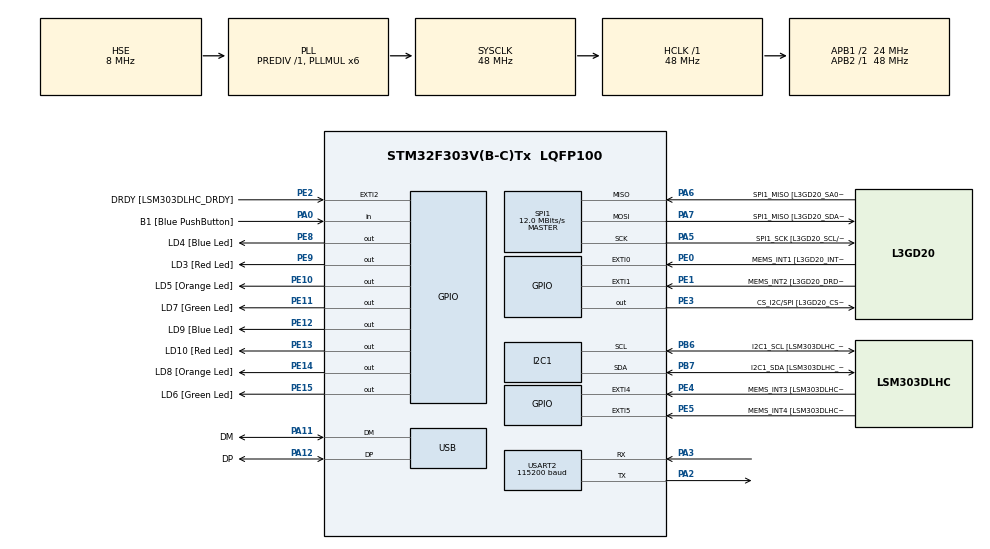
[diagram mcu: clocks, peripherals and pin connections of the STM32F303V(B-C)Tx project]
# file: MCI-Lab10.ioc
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I2C1.Timing=0x00201D2B
I2C1.Timing-I2C=0x2000090E
Mcu.Family=STM32F3
Mcu.Name=STM32F303V(B-C)Tx
Mcu.Package=LQFP100
NVIC.PriorityGroup=NVIC_PRIORITYGROUP_0
PA0.GPIO_Label=B1 [Blue PushButton]
PA0.Signal=GPIO_Input
PA11.GPIO_Label=DM
PA11.Mode=Device
PA11.Signal=USB_DM
PA12.GPIO_Label=DP
PA12.Mode=Device
PA12.Signal=USB_DP
PA13.GPIO_Label=SWDIO
PA13.Mode=Serial_Wire
PA13.Signal=SYS_JTMS-SWDIO
PA14.GPIO_Label=SWCLK
PA14.Mode=Serial_Wire
PA14.Signal=SYS_JTCK-SWCLK
PA2.Mode=Asynchronous
PA2.Signal=USART2_TX
PA3.Mode=Asynchronous
PA3.Signal=USART2_RX
PA5.GPIO_Label=SPI1_SCK [L3GD20_SCL/SPC]
PA5.Mode=Full_Duplex_Master
PA5.Signal=SPI1_SCK
PA6.GPIO_Label=SPI1_MISO [L3GD20_SA0/SDO]
PA6.Mode=Full_Duplex_Master
PA6.Signal=SPI1_MISO
PA7.GPIO_Label=SPI1_MISO [L3GD20_SDA/SDI/SDO]
PA7.Mode=Full_Duplex_Master
PA7.Signal=SPI1_MOSI
PB3.GPIO_Label=SWO
PB3.Signal=SYS_JTDO-TRACESWO
PB6.GPIO_Label=I2C1_SCL [LSM303DLHC_SCL]
PB6.GPIO_Pu=GPIO_PULLUP
PB6.Mode=I2C
PB6.Signal=I2C1_SCL
PB7.GPIO_Label=I2C1_SDA [LSM303DLHC_SDA]
PB7.GPIO_Pu=GPIO_PULLUP
PB7.Mode=I2C
PB7.Signal=I2C1_SDA
PC14-OSC32_IN.GPIO_Label=OSC32_IN
PC14-OSC32_IN.Signal=RCC_OSC32_IN
PC15-OSC32_OUT.GPIO_Label=OSC32_OUT
PC15-OSC32_OUT.Signal=RCC_OSC32_OUT
PE0.GPIO_Label=MEMS_INT1 [L3GD20_INT1]
PE0.GPIO_ModeDefaultEXTI=GPIO_MODE_EVT_RISING
PE0.Signal=GPXTI0
PE1.GPIO_Label=MEMS_INT2 [L3GD20_DRDY/INT2]
PE1.GPIO_ModeDefaultEXTI=GPIO_MODE_EVT_RISING
PE1.Signal=GPXTI1
PE10.GPIO_Label=LD5 [Orange Led]
PE10.Signal=GPIO_Output
PE11.GPIO_Label=LD7 [Green Led]
PE11.Signal=GPIO_Output
PE12.GPIO_Label=LD9 [Blue Led]
PE12.Signal=GPIO_Output
PE13.GPIO_Label=LD10 [Red Led]
PE13.Signal=GPIO_Output
PE14.GPIO_Label=LD8 [Orange Led]
PE14.Signal=GPIO_Output
PE15.GPIO_Label=LD6 [Green Led]
PE15.Signal=GPIO_Output
PE2.GPIO_Label=DRDY [LSM303DLHC_DRDY]
PE2.GPIO_ModeDefaultEXTI=GPIO_MODE_EVT_RISING
PE2.Signal=GPXTI2
PE3.GPIO_Label=CS_I2C/SPI [L3GD20_CS_I2C/SPI]
PE3.Signal=GPIO_Output
PE4.GPIO_Label=MEMS_INT3 [LSM303DLHC_INT1]
PE4.GPIO_ModeDefaultEXTI=GPIO_MODE_EVT_RISING
PE4.Signal=GPXTI4
PE5.GPIO_Label=MEMS_INT4 [LSM303DLHC_INT2]
PE5.GPIO_ModeDefaultEXTI=GPIO_MODE_EVT_RISING
PE5.Signal=GPXTI5
PE8.GPIO_Label=LD4 [Blue Led]
PE8.Signal=GPIO_Output
PE9.GPIO_Label=LD3 [Red Led]
PE9.Signal=GPIO_Output
PF0-OSC_IN.GPIO_Label=OSC_IN
PF0-OSC_IN.Mode=HSE-External-Clock-Source
PF0-OSC_IN.Signal=RCC_OSC_IN
PF1-OSC_OUT.GPIO_Label=OSC_OUT
PF1-OSC_OUT.Signal=RCC_OSC_OUT
ProjectManager.HeapSize=0x200
ProjectManager.StackSize=0x400
ProjectManager.TargetToolchain=CMake
RCC.AHBFreq_Value=48000000
RCC.APB1CLKDivider=RCC_HCLK_DIV2
RCC.APB1Freq_Value=24000000
RCC.APB1TimFreq_Value=48000000
RCC.APB2Freq_Value=48000000
RCC.APB2TimFreq_Value=48000000
RCC.CortexFreq_Value=48000000
RCC.HCLKFreq_Value=48000000
RCC.HSE_VALUE=8000000
RCC.HSI_VALUE=8000000
RCC.LSE_VALUE=32768
RCC.PLLMUL=RCC_PLL_MUL6
RCC.SYSCLKFreq_VALUE=48000000
RCC.SYSCLKSourceVirtual=RCC_SYSCLKSOURCE_PLLCLK
RCC.USBFreq_Value=48000000
SPI1.BaudRatePrescaler=SPI_BAUDRATEPRESCALER_4
SPI1.BaudRatePrescaler-Full_Duplex_Master=SPI_BAUDRATEPRESCALER_2
SPI1.CalculateBaudRate=12.0 MBits/s
SPI1.CalculateBaudRate-Full_Duplex_Master=24.0 MBits/s
SPI1.Direction=SPI_DIRECTION_2LINES
SPI1.Mode=SPI_MODE_MASTER
SPI1.Mode-Full_Duplex_Master=SPI_MODE_MASTER
SPI1.VirtualType=VM_MASTER
USART2.BaudRate=115200
USART2.VirtualMode-Asynchronous=VM_ASYNC
board=STM32F3DISCOVERY

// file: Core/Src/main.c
/* USER CODE BEGIN Header */
/**
  ******************************************************************************
  * @file           : main.c
  * @brief          : Main program body
  ******************************************************************************
  * @attention
  *
  * Copyright (c) 2026 STMicroelectronics.
  * All rights reserved.
  *
  * This software is licensed under terms that can be found in the LICENSE file
  * in the root directory of this software component.
  * If no LICENSE file comes with this software, it is provided AS-IS.
  *
  ******************************************************************************
  */
/* USER CODE END Header */
#include "main.h"
// #include "usb_device.h"

/* USER CODE BEGIN Includes */
#include "heap_driver.h"
#include <stdlib.h>
#include <string.h>
#include <stdio.h>
/* USER CODE END Includes */

I2C_HandleTypeDef hi2c1;

SPI_HandleTypeDef hspi1;

UART_HandleTypeDef huart2;

PCD_HandleTypeDef hpcd_USB_FS;

void SystemClock_Config(void);
static void MX_GPIO_Init(void);
static void MX_I2C1_Init(void);
static void MX_SPI1_Init(void);
static void MX_USART2_UART_Init(void);
static void MX_USB_PCD_Init(void);

/* USER CODE BEGIN 0 */
void print_uart(const char* msg) {
  HAL_UART_Transmit(&huart2, (uint8_t*)msg, strlen(msg), HAL_MAX_DELAY);
}
/* USER CODE END 0 */

int main(void)
{

  /* MCU Configuration--------------------------------------------------------*/

  /* Reset of all peripherals, Initializes the Flash interface and the Systick. */
  HAL_Init();

  /* Configure the system clock */
  SystemClock_Config();

  /* Initialize all configured peripherals */
  MX_GPIO_Init();
  MX_I2C1_Init();
  MX_SPI1_Init();
  MX_USART2_UART_Init();
  MX_USB_PCD_Init();

  /* USER CODE BEGIN 2 */

  // Task 1: Calloc and Malloc test
  // HAL_Delay(1000); // wait for peripherals to stabilize

  // #define N 10

  // char msg[100];

  // // malloc array
  // int* arr1 = (int*) malloc(N * sizeof(int));

  // if (arr1 != NULL)
  // {
  //     for (int i = 0; i < N; i++) arr1[i] = i * 2;

  //     HAL_UART_Transmit(&huart2, (uint8_t*)"malloc array:\r\n", 15, 100);
  //     for (int i = 0; i < N; i++) {
  //         int len = snprintf(msg, sizeof(msg), "arr1[%d] = %d\r\n", i, arr1[i]);
  //         HAL_UART_Transmit(&huart2, (uint8_t*)msg, len, 100);
  //     }
  // }

  // else  HAL_UART_Transmit(&huart2, (uint8_t*)"malloc failed\r\n", 15, 100);

  // // calloc array
  // int* arr2 = (int*) calloc(N, sizeof(int));

  // if (arr2 != NULL)
  // {
  //     HAL_UART_Transmit(&huart2, (uint8_t*)"calloc array (before assign):\r\n", 31, 100);
  //     for (int i = 0; i < N; i++) {
  //         int len = snprintf(msg, sizeof(msg), "arr2[%d] = %d\r\n", i, arr2[i]);
  //         HAL_UART_Transmit(&huart2, (uint8_t*)msg, len, 100);
  //     }

  //     for (int i = 0; i < N; i++) arr2[i] = i + 1;

  //     HAL_UART_Transmit(&huart2, (uint8_t*)"calloc array (after assign):\r\n", 30, 100);
  //     for (int i = 0; i < N; i++) {
  //         int len = snprintf(msg, sizeof(msg), "arr2[%d] = %d\r\n", i, arr2[i]);
  //         HAL_UART_Transmit(&huart2, (uint8_t*)msg, len, 100);
  //     }
  // }

  // else HAL_UART_Transmit(&huart2, (uint8_t*)"calloc failed\r\n", 15, 100);

  // // free both
  // free(arr1); arr1 = NULL;
  // free(arr2); arr2 = NULL;

  // HAL_UART_Transmit(&huart2, (uint8_t*)"Memory free\r\nPointers = NULL\r\n", 37, 100);

  // Task 2: Custom Heap Driver test

  // Print a message over UART to indicate the start of the test.
  print_uart("=== Custom Heap Driver (Direct SRAM) ===\r\n");

  // Initialize the custom heap allocator.
  // This function sets up internal memory structures (e.g., the block_map array)
  // so that all heap memory is marked as free.
  // It MUST be called before using heap_alloc or heap_free.
  heap_init();

  // Allocate 32 bytes from the heap.
  // heap_alloc returns a pointer to a memory region in SRAM that is at least 32 bytes long.
  // We cast the void* return type to char* so we can use string functions like strcpy.
  char* block1 = (char*)heap_alloc(32);

  // Allocate 48 bytes from the heap.
  char* block2 = (char*)heap_alloc(48);

  // Check if both allocations were successful (i.e., the returned pointers are not NULL).
  if (block1 && block2) {
      // If successful, store strings into the allocated memory regions.
      // Since the memory comes from our own heap allocator, we assume it behaves like malloc.
      strcpy(block1, "Data in Block 1");    // Copy string into the memory allocated in block1
      strcpy(block2, "Text from Block 2");  // Copy string into the memory allocated in block2

      // Print the contents of both blocks over UART.
      // This confirms that memory was correctly allocated and can be accessed.
      print_uart(block1);
      print_uart("\r\n");
      print_uart(block2);
      print_uart("\r\n");

  } else {
      // If either allocation failed (due to insufficient memory or a bug), print an error message.
      print_uart("Allocation failed.\r\n");
  }

  // Free the memory blocks that were previously allocated.
  // This makes them available again for future calls to heap_alloc.
  // It's important to always free memory when you're done using it to avoid memory leaks.
  heap_free(block1);
  heap_free(block2);

  // Print a confirmation that memory has been freed.
  print_uart("Blocks freed.\r\n");

  /* USER CODE END 2 */

  /* Infinite loop */

  while (1)
  {

  }
}

void SystemClock_Config(void)
{
  RCC_OscInitTypeDef RCC_OscInitStruct = {0};
  RCC_ClkInitTypeDef RCC_ClkInitStruct = {0};
  RCC_PeriphCLKInitTypeDef PeriphClkInit = {0};

  /** Initializes the RCC Oscillators according to the specified parameters
  * in the RCC_OscInitTypeDef structure.
  */
  RCC_OscInitStruct.OscillatorType = RCC_OSCILLATORTYPE_HSI|RCC_OSCILLATORTYPE_HSE;
  RCC_OscInitStruct.HSEState = RCC_HSE_BYPASS;
  RCC_OscInitStruct.HSEPredivValue = RCC_HSE_PREDIV_DIV1;
  RCC_OscInitStruct.HSIState = RCC_HSI_ON;
  RCC_OscInitStruct.HSICalibrationValue = RCC_HSICALIBRATION_DEFAULT;
  RCC_OscInitStruct.PLL.PLLState = RCC_PLL_ON;
  RCC_OscInitStruct.PLL.PLLSource = RCC_PLLSOURCE_HSE;
  RCC_OscInitStruct.PLL.PLLMUL = RCC_PLL_MUL6;
  if (HAL_RCC_OscConfig(&RCC_OscInitStruct) != HAL_OK)
  {
    Error_Handler();
  }

  /** Initializes the CPU, AHB and APB buses clocks
  */
  RCC_ClkInitStruct.ClockType = RCC_CLOCKTYPE_HCLK|RCC_CLOCKTYPE_SYSCLK
                              |RCC_CLOCKTYPE_PCLK1|RCC_CLOCKTYPE_PCLK2;
  RCC_ClkInitStruct.SYSCLKSource = RCC_SYSCLKSOURCE_PLLCLK;
  RCC_ClkInitStruct.AHBCLKDivider = RCC_SYSCLK_DIV1;
  RCC_ClkInitStruct.APB1CLKDivider = RCC_HCLK_DIV2;
  RCC_ClkInitStruct.APB2CLKDivider = RCC_HCLK_DIV1;

  if (HAL_RCC_ClockConfig(&RCC_ClkInitStruct, FLASH_LATENCY_1) != HAL_OK)
  {
    Error_Handler();
  }
  PeriphClkInit.PeriphClockSelection = RCC_PERIPHCLK_USB|RCC_PERIPHCLK_USART2
                              |RCC_PERIPHCLK_I2C1;
  PeriphClkInit.Usart2ClockSelection = RCC_USART2CLKSOURCE_PCLK1;
  PeriphClkInit.I2c1ClockSelection = RCC_I2C1CLKSOURCE_HSI;
  PeriphClkInit.USBClockSelection = RCC_USBCLKSOURCE_PLL;
  if (HAL_RCCEx_PeriphCLKConfig(&PeriphClkInit) != HAL_OK)
  {
    Error_Handler();
  }
}

static void MX_I2C1_Init(void)
{

  hi2c1.Instance = I2C1;
  hi2c1.Init.Timing = 0x00201D2B;
  hi2c1.Init.OwnAddress1 = 0;
  hi2c1.Init.AddressingMode = I2C_ADDRESSINGMODE_7BIT;
  hi2c1.Init.DualAddressMode = I2C_DUALADDRESS_DISABLE;
  hi2c1.Init.OwnAddress2 = 0;
  hi2c1.Init.OwnAddress2Masks = I2C_OA2_NOMASK;
  hi2c1.Init.GeneralCallMode = I2C_GENERALCALL_DISABLE;
  hi2c1.Init.NoStretchMode = I2C_NOSTRETCH_DISABLE;
  if (HAL_I2C_Init(&hi2c1) != HAL_OK)
  {
    Error_Handler();
  }

  /** Configure Analogue filter
  */
  if (HAL_I2CEx_ConfigAnalogFilter(&hi2c1, I2C_ANALOGFILTER_ENABLE) != HAL_OK)
  {
    Error_Handler();
  }

  /** Configure Digital filter
  */
  if (HAL_I2CEx_ConfigDigitalFilter(&hi2c1, 0) != HAL_OK)
  {
    Error_Handler();
  }

}

static void MX_SPI1_Init(void)
{

  /* SPI1 parameter configuration*/
  hspi1.Instance = SPI1;
  hspi1.Init.Mode = SPI_MODE_MASTER;
  hspi1.Init.Direction = SPI_DIRECTION_2LINES;
  hspi1.Init.DataSize = SPI_DATASIZE_4BIT;
  hspi1.Init.CLKPolarity = SPI_POLARITY_LOW;
  hspi1.Init.CLKPhase = SPI_PHASE_1EDGE;
  hspi1.Init.NSS = SPI_NSS_SOFT;
  hspi1.Init.BaudRatePrescaler = SPI_BAUDRATEPRESCALER_4;
  hspi1.Init.FirstBit = SPI_FIRSTBIT_MSB;
  hspi1.Init.TIMode = SPI_TIMODE_DISABLE;
  hspi1.Init.CRCCalculation = SPI_CRCCALCULATION_DISABLE;
  hspi1.Init.CRCPolynomial = 7;
  hspi1.Init.CRCLength = SPI_CRC_LENGTH_DATASIZE;
  hspi1.Init.NSSPMode = SPI_NSS_PULSE_ENABLE;
  if (HAL_SPI_Init(&hspi1) != HAL_OK)
  {
    Error_Handler();
  }

}

static void MX_USART2_UART_Init(void)
{

  huart2.Instance = USART2;
  huart2.Init.BaudRate = 115200;
  huart2.Init.WordLength = UART_WORDLENGTH_8B;
  huart2.Init.StopBits = UART_STOPBITS_1;
  huart2.Init.Parity = UART_PARITY_NONE;
  huart2.Init.Mode = UART_MODE_TX_RX;
  huart2.Init.HwFlowCtl = UART_HWCONTROL_NONE;
  huart2.Init.OverSampling = UART_OVERSAMPLING_16;
  huart2.Init.OneBitSampling = UART_ONE_BIT_SAMPLE_DISABLE;
  huart2.AdvancedInit.AdvFeatureInit = UART_ADVFEATURE_NO_INIT;
  if (HAL_UART_Init(&huart2) != HAL_OK)
  {
    Error_Handler();
  }

}

static void MX_USB_PCD_Init(void)
{

  hpcd_USB_FS.Instance = USB;
  hpcd_USB_FS.Init.dev_endpoints = 8;
  hpcd_USB_FS.Init.speed = PCD_SPEED_FULL;
  hpcd_USB_FS.Init.phy_itface = PCD_PHY_EMBEDDED;
  hpcd_USB_FS.Init.low_power_enable = DISABLE;
  hpcd_USB_FS.Init.battery_charging_enable = DISABLE;
  if (HAL_PCD_Init(&hpcd_USB_FS) != HAL_OK)
  {
    Error_Handler();
  }

}

static void MX_GPIO_Init(void)
{
  GPIO_InitTypeDef GPIO_InitStruct = {0};

  /* GPIO Ports Clock Enable */
  __HAL_RCC_GPIOE_CLK_ENABLE();
  __HAL_RCC_GPIOC_CLK_ENABLE();
  __HAL_RCC_GPIOF_CLK_ENABLE();
  __HAL_RCC_GPIOA_CLK_ENABLE();
  __HAL_RCC_GPIOB_CLK_ENABLE();

  /*Configure GPIO pin Output Level */
  HAL_GPIO_WritePin(GPIOE, CS_I2C_SPI_Pin|LD4_Pin|LD3_Pin|LD5_Pin
                          |LD7_Pin|LD9_Pin|LD10_Pin|LD8_Pin
                          |LD6_Pin, GPIO_PIN_RESET);

  /*Configure GPIO pins : DRDY_Pin MEMS_INT3_Pin MEMS_INT4_Pin MEMS_INT1_Pin
                           MEMS_INT2_Pin */
  GPIO_InitStruct.Pin = DRDY_Pin|MEMS_INT3_Pin|MEMS_INT4_Pin|MEMS_INT1_Pin
                          |MEMS_INT2_Pin;
  GPIO_InitStruct.Mode = GPIO_MODE_EVT_RISING;
  GPIO_InitStruct.Pull = GPIO_NOPULL;
  HAL_GPIO_Init(GPIOE, &GPIO_InitStruct);

  /*Configure GPIO pins : CS_I2C_SPI_Pin LD4_Pin LD3_Pin LD5_Pin
                           LD7_Pin LD9_Pin LD10_Pin LD8_Pin
                           LD6_Pin */
  GPIO_InitStruct.Pin = CS_I2C_SPI_Pin|LD4_Pin|LD3_Pin|LD5_Pin
                          |LD7_Pin|LD9_Pin|LD10_Pin|LD8_Pin
                          |LD6_Pin;
  GPIO_InitStruct.Mode = GPIO_MODE_OUTPUT_PP;
  GPIO_InitStruct.Pull = GPIO_NOPULL;
  GPIO_InitStruct.Speed = GPIO_SPEED_FREQ_LOW;
  HAL_GPIO_Init(GPIOE, &GPIO_InitStruct);

  /*Configure GPIO pin : B1_Pin */
  GPIO_InitStruct.Pin = B1_Pin;
  GPIO_InitStruct.Mode = GPIO_MODE_INPUT;
  GPIO_InitStruct.Pull = GPIO_NOPULL;
  HAL_GPIO_Init(B1_GPIO_Port, &GPIO_InitStruct);

}

void Error_Handler(void)
{
  __disable_irq();
  while (1)
  {
  }
}
